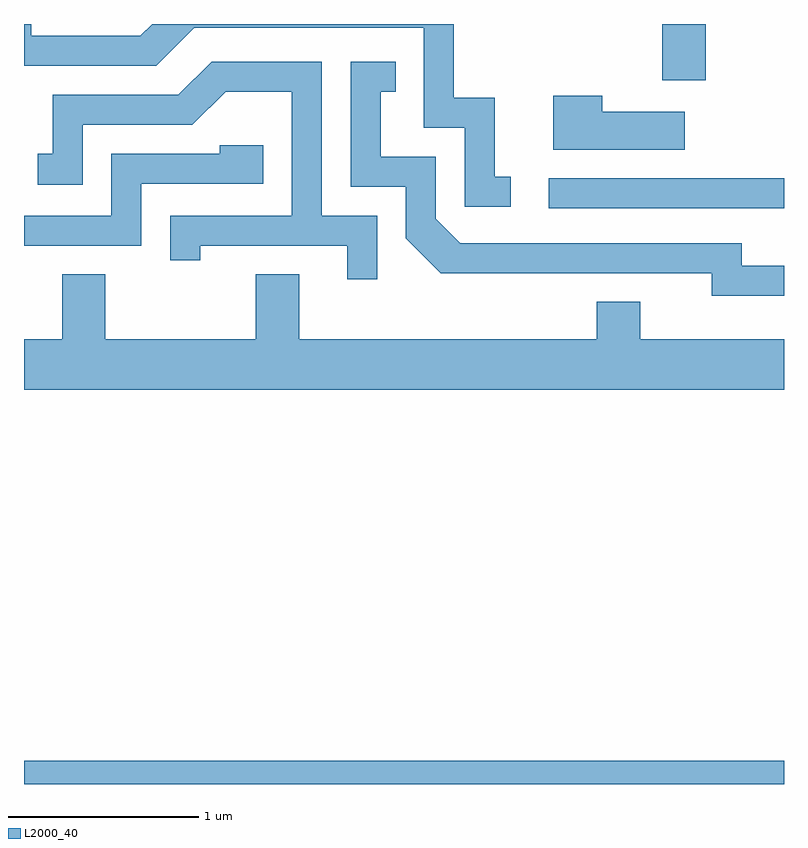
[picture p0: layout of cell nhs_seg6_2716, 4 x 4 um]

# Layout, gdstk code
import gdstk
lib = gdstk.Library(unit=1e-6, precision=1e-09)
def R(c, l, rs):  # rectangles x0, y0, x1, y1
    for r in rs: c.add(gdstk.rectangle(r[:2], r[2:], *l))
def P(c, l, *ps):  # polygons
    for p in ps: c.add(gdstk.Polygon(p, *l))
L2000_40 = (2000, 40)

nhs_seg6_2716 = lib.new_cell('nhs_seg6_2716')
R(nhs_seg6_2716, L2000_40, [(267.611,1570.162,271.611,1570.284), (270.373,1573.191,271.611,1573.349), (270.971,1573.866,271.199,1574.162)])
P(nhs_seg6_2716, L2000_40, [(270.173,1573.359),(270.089,1573.359),(270.089,1573.774),(269.874,1573.774),(269.874,1574.162),(268.287,1574.162),(268.224,1574.099),(267.649,1574.099),(267.649,1574.162),(267.611,1574.162),(267.611,1573.941),(268.307,1573.941),(268.507,1574.141),(269.716,1574.141),(269.716,1573.616),(269.931,1573.616),(269.931,1573.201),(270.173,1573.201)],
  [(271.611,1572.889),(271.389,1572.889),(271.389,1573.009),(269.907,1573.009),(269.779,1573.137),(269.779,1573.464),(269.489,1573.464),(269.489,1573.806),(269.568,1573.806),(269.568,1573.964),(269.331,1573.964),(269.331,1573.306),(269.621,1573.306),(269.621,1573.034),(269.804,1572.851),(271.231,1572.851),(271.231,1572.731),(271.611,1572.731)],
  [(269.469,1573.154),(269.179,1573.154),(269.179,1573.964),(268.599,1573.964),(268.424,1573.789),(267.761,1573.789),(267.761,1573.479),(267.683,1573.479),(267.683,1573.316),(267.919,1573.316),(267.919,1573.631),(268.497,1573.631),(268.672,1573.806),(269.021,1573.806),(269.021,1573.154),(268.381,1573.154),(268.381,1572.918),(268.539,1572.918),(268.539,1572.996),(269.311,1572.996),(269.311,1572.818),(269.469,1572.818)],
  [(271.089,1573.699),(270.654,1573.699),(270.654,1573.784),(270.396,1573.784),(270.396,1573.501),(271.089,1573.501)],
  [(268.229,1573.321),(268.869,1573.321),(268.869,1573.524),(268.641,1573.524),(268.641,1573.479),(268.071,1573.479),(268.071,1573.154),(267.611,1573.154),(267.611,1572.996),(268.229,1572.996)],
  [(271.611,1572.504),(270.854,1572.504),(270.854,1572.699),(270.626,1572.699),(270.626,1572.504),(269.059,1572.504),(269.059,1572.844),(268.831,1572.844),(268.831,1572.504),(268.039,1572.504),(268.039,1572.844),(267.811,1572.844),(267.811,1572.504),(267.611,1572.504),(267.611,1572.236),(271.611,1572.236)])

lib.write_gds('nhs_seg6_2716.gds')
